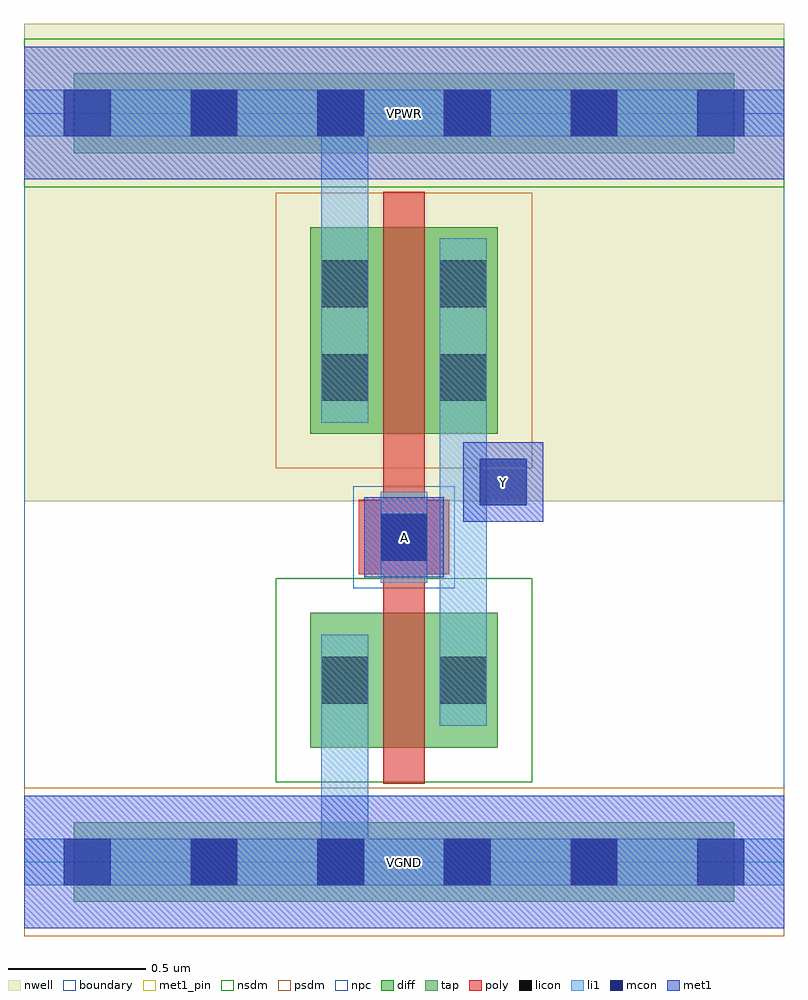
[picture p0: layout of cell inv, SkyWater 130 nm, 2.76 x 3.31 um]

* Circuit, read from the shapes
.subckt inv A VGND VPWR Y
XM1 Y A VGND VGND sky130_fd_pr__nfet_01v8 w=0.49 l=0.15
XM2 Y A VPWR VPWR sky130_fd_pr__pfet_01v8 w=0.75 l=0.15
.ends

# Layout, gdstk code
import gdstk
lib = gdstk.Library(unit=1e-6, precision=1e-09)
def R(c, l, rs):  # rectangles x0, y0, x1, y1
    for r in rs: c.add(gdstk.rectangle(r[:2], r[2:], *l))
def A(c, l, x, y, w, h, nx, ny, dx, dy):  # array of equal rectangles
    R(c, l, [(x+i*dx, y+j*dy, x+i*dx+w, y+j*dy+h) for i in range(nx) for j in range(ny)])
nwell = (64, 20)
diff = (65, 20)
tap = (65, 44)
poly = (66, 20)
licon = (66, 44)
li1 = (67, 20)
mcon = (67, 44)
met1_pin = (68, 16)
met1 = (68, 20)
nsdm = (93, 44)
psdm = (94, 20)
npc = (95, 20)
boundary = (235, 4)

inv = lib.new_cell('inv')
R(inv, nwell, [(0,1.31,2.76,3.045)])
R(inv, diff, [(1.04,0.415,1.72,0.905), (1.04,1.555,1.72,2.305)])
R(inv, tap, [(0.18,-0.145,2.58,0.145), (0.18,2.575,2.58,2.865)])
R(inv, poly, [(1.305,0.285,1.455,2.435), (1.215,1.045,1.545,1.315)])
A(inv, licon, 0.605, -0.085, 0.17, 0.17, 4, 2, 0.46, 2.72)
R(inv, licon, [(1.08,0.575,1.25,0.745), (1.51,0.575,1.68,0.745), (1.295,1.095,1.465,1.265), (1.08,1.675,1.25,1.845), (1.51,1.675,1.68,1.845), (1.08,2.015,1.25,2.185), (1.51,2.015,1.68,2.185)])
R(inv, li1, [(0,-0.085,2.76,0.085), (1.08,-0.085,1.25,0.825), (1.08,0.495,1.25,0.825), (1.51,0.495,1.68,0.825), (1.51,0.495,1.68,2.265), (1.295,1.015,1.465,1.345), (1.08,1.595,1.25,2.265), (1.08,1.595,1.25,2.805), (1.51,1.595,1.68,2.265), (0,2.635,2.76,2.805)])
A(inv, mcon, 0.145, -0.085, 0.17, 0.17, 6, 2, 0.46, 2.72)
R(inv, mcon, [(1.295,1.095,1.465,1.265), (1.655,1.295,1.825,1.465)])
R(inv, met1_pin, [(0,-0.24,2.76,0.24), (1.235,1.035,1.525,1.325), (1.595,1.235,1.885,1.525), (0,2.48,2.76,2.96)])
R(inv, met1, [(0,-0.24,2.76,0.24), (1.235,1.035,1.525,1.325), (1.595,1.235,1.885,1.525), (0,2.48,2.76,2.96)])
R(inv, nsdm, [(0.915,0.29,1.845,1.03), (0,2.45,2.76,2.99)])
R(inv, psdm, [(0,-0.27,2.76,0.27), (0.915,1.43,1.845,2.43)])
R(inv, npc, [(1.195,0.995,1.565,1.365)])
R(inv, boundary, [(0,0,2.76,2.72)])
inv.add(gdstk.Label('A', (1.38,1.18), layer=68, texttype=5))
inv.add(gdstk.Label('Y', (1.74,1.38), layer=68, texttype=5))
inv.add(gdstk.Label('VPWR', (1.38,2.72), layer=68, texttype=5))
inv.add(gdstk.Label('VGND', (1.38,0), layer=68, texttype=5))
inv.add(gdstk.Label('A', (1.38,1.18), layer=68, texttype=16))
inv.add(gdstk.Label('Y', (1.74,1.38), layer=68, texttype=16))
inv.add(gdstk.Label('VPWR', (1.38,2.72), layer=68, texttype=16))
inv.add(gdstk.Label('VGND', (1.38,0), layer=68, texttype=16))

lib.write_gds('inv.gds')
